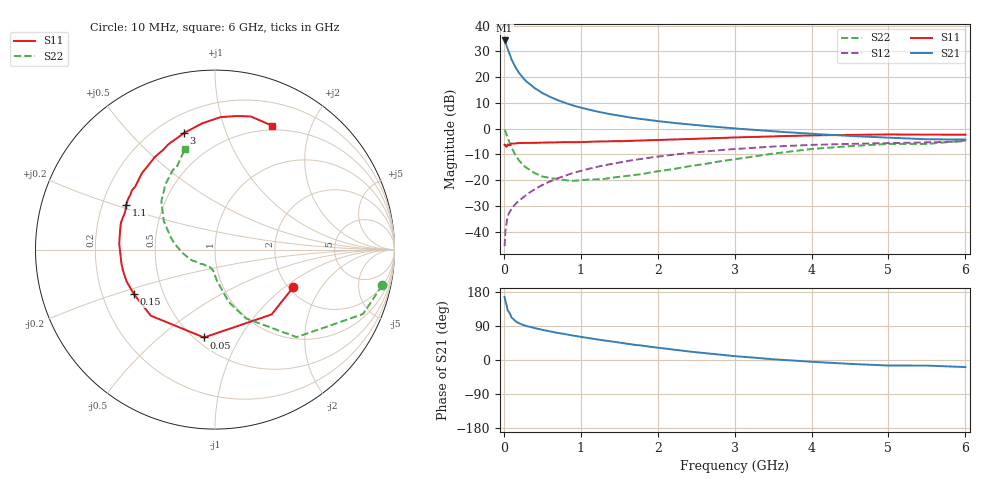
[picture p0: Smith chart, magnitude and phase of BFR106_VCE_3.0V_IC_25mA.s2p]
! Infineon Technologies  Discrete & RF Semiconductors
! BFR106
! VCE =  3.0 V,  IC =  25 mA
! Common Emitter S-Parameters:  Nov 2015
# GHz  S  MA  R  50
!  f  S11  S21  S12  S22
! GHz  MAG  ANG  MAG  ANG  MAG  ANG  MAG  ANG
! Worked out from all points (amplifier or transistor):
!   210 points, 10 MHz to 6 GHz, reference 50 ohm
!   highest |S21| = 34.2 dB at 10 MHz (marker M1)
!   |S21| within 3 dB of that: start of sweep to 46.17 MHz
!   unconditionally stable (mu >= 1): 338.7 MHz to 2.337 GHz; 5.378 GHz to end of sweep
!   at 185 MHz: K = 0.82, MSG = 25.3 dB, |S12| = -28.4 dB
!   at 1.52 GHz: K = 1.06, MAG = 7.5 dB, |S12| = -13.1 dB
!   at 6 GHz: K = 1.01, MAG = -0.1 dB, |S12| = -4.9 dB
!   S11 on the Smith chart (normalised r, x): 10 MHz: 2.11, -1.16; 50 MHz: 0.55, -0.72; 150 MHz: 0.34, -0.23; 1.1 GHz: 0.30, +0.22; 3 GHz: 0.30, +0.72; 6 GHz: 0.45, +1.47
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0.01  0.4834 -25.7  51.39 166.5  0.0052 81.9  0.9533 -12.0
0.02  0.4797 -48.9  48.08 155.5  0.0098 74.2  0.8998 -23.5
0.05  0.4933 -97.1  35.17 131.1  0.0198 58.7  0.6667 -47.0
0.1  0.5135 -134.2  22 112.0  0.0278 55.1  0.421 -65.7
0.15  0.5154 -151.3  15.45 102.2  0.034 55.9  0.3036 -75.1
0.2  0.5234 -160.2  11.9 96.7  0.04 58.6  0.2382 -79.1
0.24  0.5248 -165.4  10.04 93.3  0.0446 60.7  0.203 -82.6
0.26  0.5258 -167.7  9.268 91.8  0.0472 61.5  0.1896 -84.3
0.3  0.5271 -171.5  8.036 89.2  0.0526 63.0  0.1708 -86.8
0.4  0.5282 -178.6  6.101 84.1  0.0659 65.3  0.1363 -91.5
0.5  0.5347 176.4  4.903 79.6  0.0799 66.6  0.1173 -95.2
0.6  0.537 171.5  4.117 75.4  0.094 67.0  0.1094 -99.0
0.8  0.5453 164.0  3.131 68.0  0.1224 66.3  0.0993 -108.5
1.02  0.546 155.8  2.503 60.5  0.1536 64.7  0.0997 -116.4
1.1  0.5538 153.5  2.338 57.9  0.1646 63.8  0.1022 -120.5
1.6  0.5729 138.7  1.675 43.0  0.2333 57.5  0.1206 -142.4
2.02  0.6004 127.7  1.385 32.0  0.2875 51.5  0.1496 -160.2
3  0.6718 105.0  1.007 10.1  0.3999 36.4  0.2535 165.0
3.1  0.6774 103.1  0.981 8.6  0.4087 34.7  0.2666 161.6
4.1  0.7408 86.3  0.776 -5.8  0.4861 19.4  0.4108 135.8
5.1  0.7664 73.9  0.657 -14.6  0.5269 6.6  0.5029 117.3
6  0.7602 65.2  0.612 -18.7  0.567 -3.1  0.584 106.7
